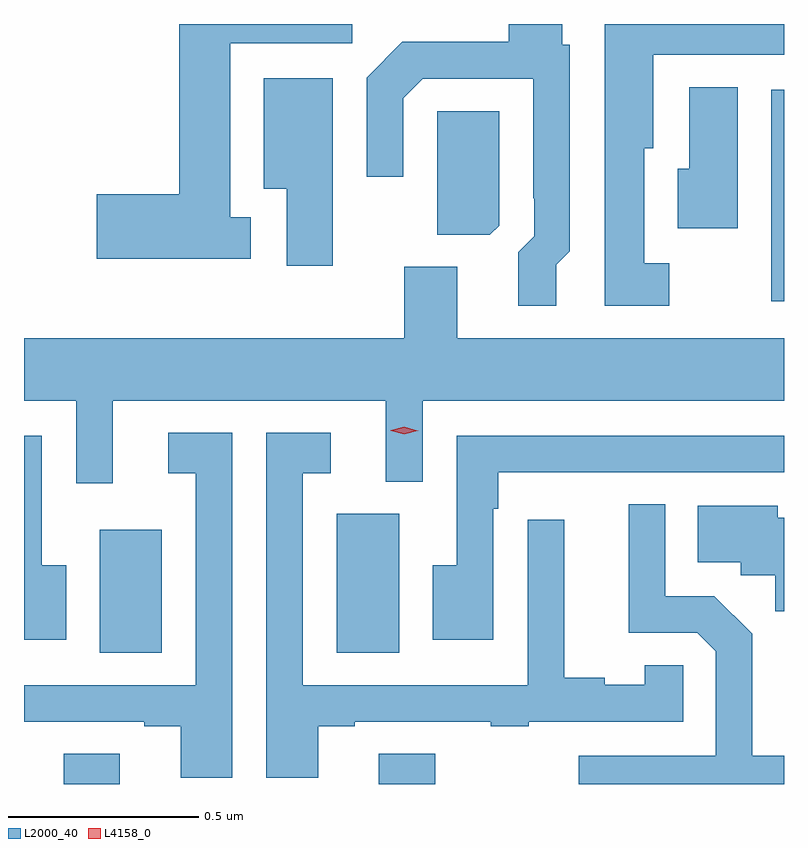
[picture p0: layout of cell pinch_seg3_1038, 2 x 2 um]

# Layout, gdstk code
import gdstk
lib = gdstk.Library(unit=1e-6, precision=1e-09)
def R(c, l, rs):  # rectangles x0, y0, x1, y1
    for r in rs: c.add(gdstk.rectangle(r[:2], r[2:], *l))
def P(c, l, *ps):  # polygons
    for p in ps: c.add(gdstk.Polygon(p, *l))
L2000_40 = (2000, 40)
L4158_0 = (4158, 0)

pinch_seg3_1038 = lib.new_cell('pinch_seg3_1038')
R(pinch_seg3_1038, L2000_40, [(578.632,666.607,578.779,666.686), (579.461,666.607,579.609,666.686), (578.726,666.952,578.89,667.276), (579.35,666.952,579.514,667.318), (580.493,667.878,580.527,668.434)])
P(pinch_seg3_1038, L2000_40, [(579.927,667.973),(579.963,668.009),(579.963,668.553),(579.943,668.553),(579.943,668.607),(579.803,668.607),(579.803,668.56),(579.523,668.56),(579.429,668.466),(579.429,668.205),(579.525,668.205),(579.525,668.412),(579.576,668.463),(579.867,668.463),(579.867,668.149),(579.87,668.149),(579.87,668.049),(579.827,668.006),(579.827,667.866),(579.927,667.866)],
  [(580.225,667.978),(580.159,667.978),(580.159,668.28),(580.183,668.28),(580.183,668.526),(580.527,668.526),(580.527,668.607),(580.055,668.607),(580.055,667.865),(580.225,667.865)],
  [(579.124,668.098),(579.07,668.098),(579.07,668.556),(579.391,668.556),(579.391,668.607),(578.936,668.607),(578.936,668.159),(578.718,668.159),(578.718,667.989),(579.124,667.989)],
  [(579.34,668.464),(579.158,668.464),(579.158,668.174),(579.218,668.174),(579.218,667.971),(579.34,667.971)],
  [(580.405,668.44),(580.277,668.44),(580.277,668.226),(580.247,668.226),(580.247,668.07),(580.405,668.07)],
  [(579.777,668.076),(579.777,668.378),(579.615,668.378),(579.615,668.267),(579.614,668.267),(579.614,668.053),(579.753,668.053)],
  [(578.761,667.616),(579.479,667.616),(579.479,667.403),(579.576,667.403),(579.576,667.616),(580.527,667.616),(580.527,667.78),(579.667,667.78),(579.667,667.968),(579.527,667.968),(579.527,667.78),(578.527,667.78),(578.527,667.616),(578.664,667.616),(578.664,667.398),(578.761,667.398)],
  [(579.301,666.759),(579.397,666.759),(579.397,666.771),(579.755,666.771),(579.755,666.759),(579.855,666.759),(579.855,666.771),(580.262,666.771),(580.262,666.92),(580.161,666.92),(580.161,666.868),(580.055,666.868),(580.055,666.887),(579.949,666.887),(579.949,667.303),(579.852,667.303),(579.852,666.867),(579.261,666.867),(579.261,667.425),(579.334,667.425),(579.334,667.531),(579.165,667.531),(579.165,666.624),(579.301,666.624)],
  [(579.075,667.531),(578.907,667.531),(578.907,667.425),(578.979,667.425),(578.979,666.867),(578.527,666.867),(578.527,666.771),(578.843,666.771),(578.843,666.759),(578.939,666.759),(578.939,666.624),(579.075,666.624)],
  [(578.638,667.183),(578.574,667.183),(578.574,667.524),(578.527,667.524),(578.527,666.987),(578.638,666.987)],
  [(579.762,667.331),(579.775,667.331),(579.775,667.428),(580.527,667.428),(580.527,667.524),(579.666,667.524),(579.666,667.183),(579.602,667.183),(579.602,666.987),(579.762,666.987)],
  [(580.527,666.681),(580.443,666.681),(580.443,667.002),(580.344,667.101),(580.215,667.101),(580.215,667.343),(580.118,667.343),(580.118,667.005),(580.299,667.005),(580.347,666.957),(580.347,666.681),(579.987,666.681),(579.987,666.607),(580.527,666.607)],
  [(580.527,667.308),(580.51,667.308),(580.51,667.339),(580.3,667.339),(580.3,667.19),(580.413,667.19),(580.413,667.156),(580.504,667.156),(580.504,667.062),(580.527,667.062)])
P(pinch_seg3_1038, L4158_0, [(579.528,667.527),(579.492,667.537),(579.492,667.538),(579.492,667.538),(579.528,667.547),(579.563,667.536),(579.564,667.536),(579.563,667.536)])

lib.write_gds('pinch_seg3_1038.gds')
